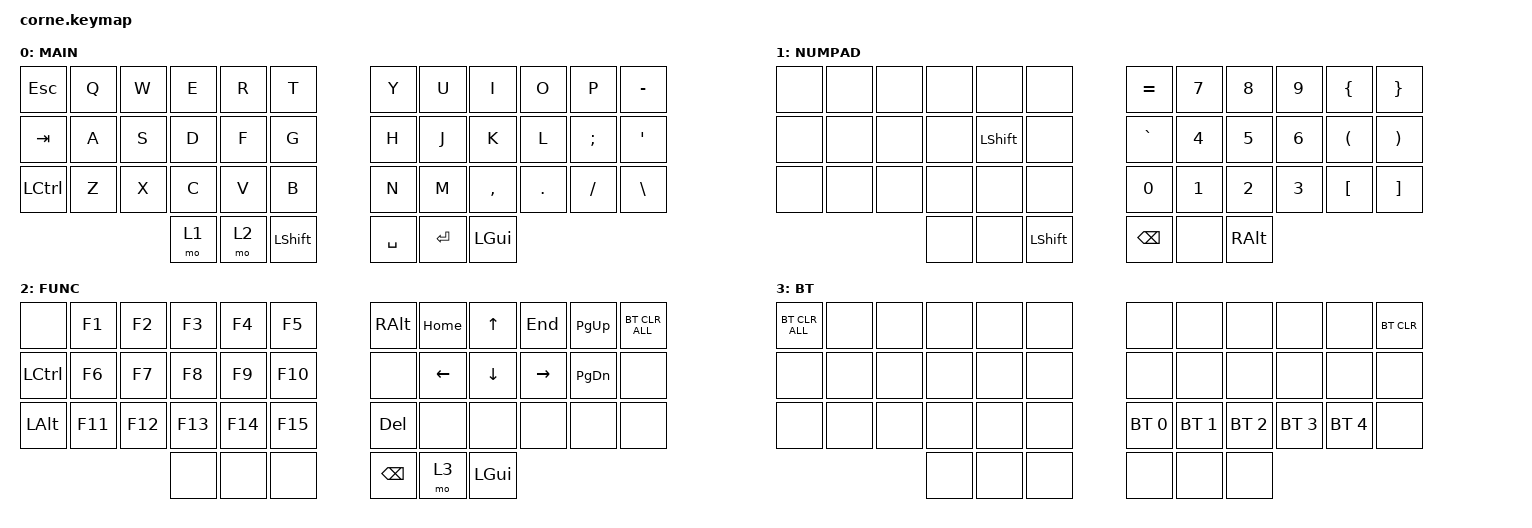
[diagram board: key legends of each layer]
/*
 * Copyright (c) 2020 The ZMK Contributors
 *
 * SPDX-License-Identifier: MIT
 */

#include <behaviors.dtsi>
#include <dt-bindings/zmk/bt.h>
#include <dt-bindings/zmk/keys.h>

/ {
    behaviors {
        HMR: HMR {
            compatible = "zmk,behavior-hold-tap";
            label = "HMR";
            bindings = <&kp>, <&kp>;

            #binding-cells = <2>;
            hold-trigger-key-positions = <0 1 2 3 4 5 12 13 14 15 16 17 24 25 26 27 28 29 36 37 38 39 40 41>;
            tapping-term-ms = <280>;
            flavor = "balanced";
            hold-trigger-on-release;
            require-prior-idle-ms = <150>;
            quick-tap-ms = <175>;
        };

        HML: HML {
            compatible = "zmk,behavior-hold-tap";
            label = "HML";
            bindings = <&kp>, <&kp>;

            #binding-cells = <2>;
            tapping-term-ms = <280>;
            flavor = "balanced";
            hold-trigger-on-release;
            hold-trigger-key-positions = <6 7 8 9 10 11 18 19 20 21 22 23 30 31 32 33 34 35 39 40 41 36 37 38>;
            quick-tap-ms = <175>;
            require-prior-idle-ms = <150>;
        };

        H2S: H2S {
            compatible = "zmk,behavior-hold-tap";
            label = "H2S";
            bindings = <&to>, <&kp>;

            #binding-cells = <2>;
            hold-trigger-key-positions = <0 1 2 3 4 5 12 13 14 15 16 17 24 25 26 27 28 29 36 37 38 39 40 41 6 7 8 9 10 11 18 19 20 21 22 23 30 31 32 33 34 35 40 41>;
            tapping-term-ms = <280>;
            flavor = "balanced";
            hold-trigger-on-release;
            require-prior-idle-ms = <150>;
            quick-tap-ms = <175>;
        };
    };

    keymap {
        compatible = "zmk,keymap";

        MAIN {
            display-name = "MAIN";
            bindings = <
&kp ESCAPE  &kp Q  &kp W  &kp E  &kp R  &kp T             &kp Y      &kp U    &kp I         &kp O    &kp P          &kp MINUS
&kp TAB     &kp A  &kp S  &kp D  &kp F  &kp G             &kp H      &kp J    &kp K         &kp L    &kp SEMICOLON  &kp SQT
&kp LCTRL   &kp Z  &kp X  &kp C  &kp V  &kp B             &kp N      &kp M    &kp COMMA     &kp DOT  &kp FSLH       &kp BACKSLASH
                          &mo 1  &mo 2  &kp LEFT_SHIFT    &kp SPACE  &kp RET  &kp LEFT_GUI
            >;
        };

        NUMPAD {
            bindings = <
&none  &none  &none  &none  &none           &none             &kp EQUAL      &kp NUMBER_7  &kp NUMBER_8   &kp NUMBER_9  &kp LEFT_BRACE        &kp RIGHT_BRACE
&none  &none  &none  &none  &kp LEFT_SHIFT  &none             &kp GRAVE      &kp NUMBER_4  &kp NUMBER_5   &kp NUMBER_6  &kp LEFT_PARENTHESIS  &kp RIGHT_PARENTHESIS
&none  &none  &none  &none  &none           &none             &kp NUMBER_0   &kp NUMBER_1  &kp NUMBER_2   &kp NUMBER_3  &kp LEFT_BRACKET      &kp RIGHT_BRACKET
                     &none  &none           &kp LEFT_SHIFT    &kp BACKSPACE  &none         &kp RIGHT_ALT
            >;

            label = "NUMPAD";
        };

        FUNC {
            bindings = <
&none         &kp F1   &kp F2   &kp F3   &kp F4   &kp F5     &kp RIGHT_ALT  &kp HOME  &kp UP_ARROW  &kp END    &kp PAGE_UP    &bt BT_CLR_ALL
&kp LCTRL     &kp F6   &kp F7   &kp F8   &kp F9   &kp F10    &none          &kp LEFT  &kp DOWN      &kp RIGHT  &kp PAGE_DOWN  &none
&kp LEFT_ALT  &kp F11  &kp F12  &kp F13  &kp F14  &kp F15    &kp DELETE     &none     &none         &none      &none          &none
                                &none    &none    &none      &kp BACKSPACE  &mo 3     &kp LEFT_GUI
            >;

            label = "FUNC";
        };

        BT {
            bindings = <
&bt BT_CLR_ALL  &none  &none  &none  &none  &none    &none         &none         &none         &none         &none         &bt BT_CLR
&none           &none  &none  &none  &none  &none    &none         &none         &none         &none         &none         &none
&none           &none  &none  &none  &none  &none    &bt BT_SEL 0  &bt BT_SEL 1  &bt BT_SEL 2  &bt BT_SEL 3  &bt BT_SEL 4  &none
                              &none  &none  &none    &none         &none         &none
            >;

            label = "BT";
        };
    };
};
